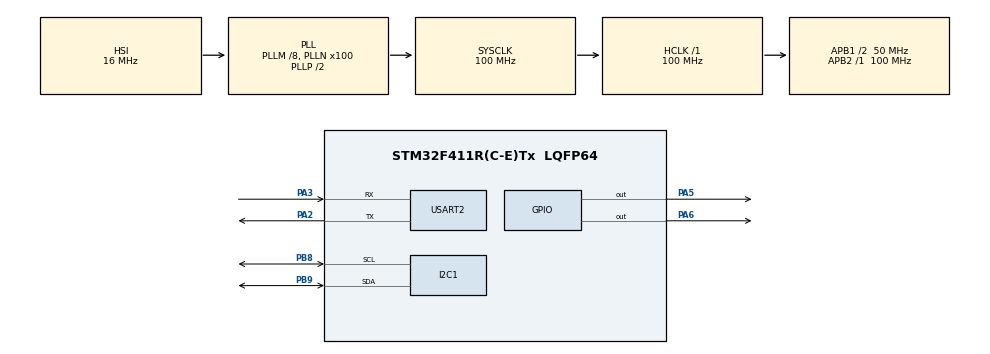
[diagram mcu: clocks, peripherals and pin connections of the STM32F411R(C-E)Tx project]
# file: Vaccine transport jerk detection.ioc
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Mcu.Family=STM32F4
Mcu.Name=STM32F411R(C-E)Tx
Mcu.Package=LQFP64
NVIC.PriorityGroup=NVIC_PRIORITYGROUP_4
PA2.Mode=Asynchronous
PA2.Signal=USART2_TX
PA3.Mode=Asynchronous
PA3.Signal=USART2_RX
PA5.Signal=GPIO_Output
PA6.Signal=GPIO_Output
PB8.Mode=I2C
PB8.Signal=I2C1_SCL
PB9.Mode=I2C
PB9.Signal=I2C1_SDA
ProjectManager.HeapSize=0x200
ProjectManager.StackSize=0x400
ProjectManager.TargetToolchain=STM32CubeIDE
RCC.48MHZClocksFreq_Value=50000000
RCC.AHBFreq_Value=100000000
RCC.APB1CLKDivider=RCC_HCLK_DIV2
RCC.APB1Freq_Value=50000000
RCC.APB1TimFreq_Value=100000000
RCC.APB2Freq_Value=100000000
RCC.APB2TimFreq_Value=100000000
RCC.CortexFreq_Value=100000000
RCC.HCLKFreq_Value=100000000
RCC.HSE_VALUE=25000000
RCC.HSI_VALUE=16000000
RCC.LSE_VALUE=32768
RCC.PLLM=8
RCC.PLLN=100
RCC.SYSCLKFreq_VALUE=100000000
RCC.SYSCLKSource=RCC_SYSCLKSOURCE_PLLCLK
RCC.VCOOutputFreq_Value=200000000
USART2.VirtualMode=VM_ASYNC
board=custom

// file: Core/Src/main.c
/* USER CODE BEGIN Header */
/**
  ******************************************************************************
  * @file           : main.c
  * @brief          : Main program body
  ******************************************************************************
  * @attention
  *
  * Copyright (c) 2026 STMicroelectronics.
  * All rights reserved.
  *
  * This software is licensed under terms that can be found in the LICENSE file
  * in the root directory of this software component.
  * If no LICENSE file comes with this software, it is provided AS-IS.
  *
  ******************************************************************************
  */
/* USER CODE END Header */
#include "main.h"

/* USER CODE BEGIN Includes */
#include <math.h>   // For processing sqrtf() vectors
#include <stdio.h>  // For processing streaming console data
/* USER CODE END Includes */

I2C_HandleTypeDef hi2c1;

UART_HandleTypeDef huart2;

/* USER CODE BEGIN PV */
I2C_HandleTypeDef hi2c1;
UART_HandleTypeDef huart2;

/* USER CODE BEGIN PV */
#define MPU6050_ADDR         (0x68 << 1)
#define REG_PWR_MGMT_1       0x6B
#define REG_ACCEL_XOUT_H     0x3B

int16_t raw_x, raw_y, raw_z;
float ax, ay, az;
float current_g = 0.0f, last_g = 0.0f;
float jerk_magnitude = 0.0f;

const float JERK_LIMIT = 1.8f;

/* USER CODE END PV */

void SystemClock_Config(void);
static void MX_GPIO_Init(void);
static void MX_I2C1_Init(void);
static void MX_USART2_UART_Init(void);

int main(void)
{

  /* MCU Configuration--------------------------------------------------------*/

  /* Reset of all peripherals, Initializes the Flash interface and the Systick. */
  HAL_Init();

  /* Configure the system clock */
  SystemClock_Config();

  /* Initialize all configured peripherals */
  MX_GPIO_Init();
  MX_I2C1_Init();
  MX_USART2_UART_Init();
  /* USER CODE BEGIN 2 */
  uint8_t wakeup_data = 0x00;
    HAL_StatusTypeDef mpu_status = HAL_I2C_Mem_Write(&hi2c1, MPU6050_ADDR, REG_PWR_MGMT_1, 1, &wakeup_data, 1, 100);

    if (mpu_status != HAL_OK)
    {
        // Hardware lockout loop
        while(1)
        {
            HAL_GPIO_TogglePin(GPIOA, GPIO_PIN_5);
            HAL_GPIO_TogglePin(GPIOA, GPIO_PIN_6);
            HAL_Delay(100);
        }
    }

  /* USER CODE END 2 */

  /* Infinite loop */
  while (1)
  {

    /* USER CODE BEGIN 3 */
	  uint8_t data_buffer[6];

	        if (HAL_I2C_Mem_Read(&hi2c1, MPU6050_ADDR, REG_ACCEL_XOUT_H, 1, data_buffer, 6, 100) == HAL_OK)
	        {
	            raw_x = (int16_t)((data_buffer[0] << 8) | data_buffer[1]);
	            raw_y = (int16_t)((data_buffer[2] << 8) | data_buffer[3]);
	            raw_z = (int16_t)((data_buffer[4] << 8) | data_buffer[5]);

	            ax = (float)raw_x / 16384.0f;
	            ay = (float)raw_y / 16384.0f;
	            az = (float)raw_z / 16384.0f;

	            current_g = sqrtf((ax * ax) + (ay * ay) + (az * az));
	            jerk_magnitude = fabsf(current_g - last_g);

	            // Serial Telemetry
	            printf("Live Telemetry | Cargo Force: %.2fg | Jerk Delta: %.2fg \r\n", current_g, jerk_magnitude);

	            if (jerk_magnitude > JERK_LIMIT)
	            {
	                printf("\r\n⚠️ CRITICAL TRANSIT VIOLATION! Jerk: %.2fg -> FLASHING ALARM!\r\n\r\n", jerk_magnitude);
	                HAL_GPIO_WritePin(GPIOA, GPIO_PIN_5, GPIO_PIN_RESET);

	                for (int alarm_loop = 0; alarm_loop < 10; alarm_loop++)
	                {
	                    HAL_GPIO_WritePin(GPIOA, GPIO_PIN_6, GPIO_PIN_SET);
	                    HAL_Delay(100);
	                    HAL_GPIO_WritePin(GPIOA, GPIO_PIN_6, GPIO_PIN_RESET);
	                    HAL_Delay(100);
	                }
	            }
	            else
	            {
	                HAL_GPIO_WritePin(GPIOA, GPIO_PIN_5, GPIO_PIN_SET);
	                HAL_GPIO_WritePin(GPIOA, GPIO_PIN_6, GPIO_PIN_RESET);
	            }

	            last_g = current_g;
	        }

	        HAL_Delay(20);
	    }
	    /* USER CODE END 3 */
  /* USER CODE END 3 */
}

int __io_putchar(int ch)
{
  HAL_UART_Transmit(&huart2, (uint8_t *)&ch, 1, HAL_MAX_DELAY);
  return ch;
}

void SystemClock_Config(void)
{
  RCC_OscInitTypeDef RCC_OscInitStruct = {0};
  RCC_ClkInitTypeDef RCC_ClkInitStruct = {0};

  /** Configure the main internal regulator output voltage
  */
  __HAL_RCC_PWR_CLK_ENABLE();
  __HAL_PWR_VOLTAGESCALING_CONFIG(PWR_REGULATOR_VOLTAGE_SCALE1);

  /** Initializes the RCC Oscillators according to the specified parameters
  * in the RCC_OscInitTypeDef structure.
  */
  RCC_OscInitStruct.OscillatorType = RCC_OSCILLATORTYPE_HSI;
  RCC_OscInitStruct.HSIState = RCC_HSI_ON;
  RCC_OscInitStruct.HSICalibrationValue = RCC_HSICALIBRATION_DEFAULT;
  RCC_OscInitStruct.PLL.PLLState = RCC_PLL_ON;
  RCC_OscInitStruct.PLL.PLLSource = RCC_PLLSOURCE_HSI;
  RCC_OscInitStruct.PLL.PLLM = 8;
  RCC_OscInitStruct.PLL.PLLN = 100;
  RCC_OscInitStruct.PLL.PLLP = RCC_PLLP_DIV2;
  RCC_OscInitStruct.PLL.PLLQ = 4;
  if (HAL_RCC_OscConfig(&RCC_OscInitStruct) != HAL_OK)
  {
    Error_Handler();
  }

  /** Initializes the CPU, AHB and APB buses clocks
  */
  RCC_ClkInitStruct.ClockType = RCC_CLOCKTYPE_HCLK|RCC_CLOCKTYPE_SYSCLK
                              |RCC_CLOCKTYPE_PCLK1|RCC_CLOCKTYPE_PCLK2;
  RCC_ClkInitStruct.SYSCLKSource = RCC_SYSCLKSOURCE_PLLCLK;
  RCC_ClkInitStruct.AHBCLKDivider = RCC_SYSCLK_DIV1;
  RCC_ClkInitStruct.APB1CLKDivider = RCC_HCLK_DIV2;
  RCC_ClkInitStruct.APB2CLKDivider = RCC_HCLK_DIV1;

  if (HAL_RCC_ClockConfig(&RCC_ClkInitStruct, FLASH_LATENCY_3) != HAL_OK)
  {
    Error_Handler();
  }
}

static void MX_I2C1_Init(void)
{

  hi2c1.Instance = I2C1;
  hi2c1.Init.ClockSpeed = 100000;
  hi2c1.Init.DutyCycle = I2C_DUTYCYCLE_2;
  hi2c1.Init.OwnAddress1 = 0;
  hi2c1.Init.AddressingMode = I2C_ADDRESSINGMODE_7BIT;
  hi2c1.Init.DualAddressMode = I2C_DUALADDRESS_DISABLE;
  hi2c1.Init.OwnAddress2 = 0;
  hi2c1.Init.GeneralCallMode = I2C_GENERALCALL_DISABLE;
  hi2c1.Init.NoStretchMode = I2C_NOSTRETCH_DISABLE;
  if (HAL_I2C_Init(&hi2c1) != HAL_OK)
  {
    Error_Handler();
  }

}

static void MX_USART2_UART_Init(void)
{

  huart2.Instance = USART2;
  huart2.Init.BaudRate = 115200;
  huart2.Init.WordLength = UART_WORDLENGTH_8B;
  huart2.Init.StopBits = UART_STOPBITS_1;
  huart2.Init.Parity = UART_PARITY_NONE;
  huart2.Init.Mode = UART_MODE_TX_RX;
  huart2.Init.HwFlowCtl = UART_HWCONTROL_NONE;
  huart2.Init.OverSampling = UART_OVERSAMPLING_16;
  if (HAL_UART_Init(&huart2) != HAL_OK)
  {
    Error_Handler();
  }

}

static void MX_GPIO_Init(void)
{
  GPIO_InitTypeDef GPIO_InitStruct = {0};

  /* GPIO Ports Clock Enable */
  __HAL_RCC_GPIOA_CLK_ENABLE();
  __HAL_RCC_GPIOB_CLK_ENABLE();

  /*Configure GPIO pin Output Level */
  HAL_GPIO_WritePin(GPIOA, GPIO_PIN_5|GPIO_PIN_6, GPIO_PIN_RESET);

  /*Configure GPIO pins : PA5 PA6 */
  GPIO_InitStruct.Pin = GPIO_PIN_5|GPIO_PIN_6;
  GPIO_InitStruct.Mode = GPIO_MODE_OUTPUT_PP;
  GPIO_InitStruct.Pull = GPIO_NOPULL;
  GPIO_InitStruct.Speed = GPIO_SPEED_FREQ_LOW;
  HAL_GPIO_Init(GPIOA, &GPIO_InitStruct);

}

void Error_Handler(void)
{
  __disable_irq();
  while (1)
  {
  }
}
